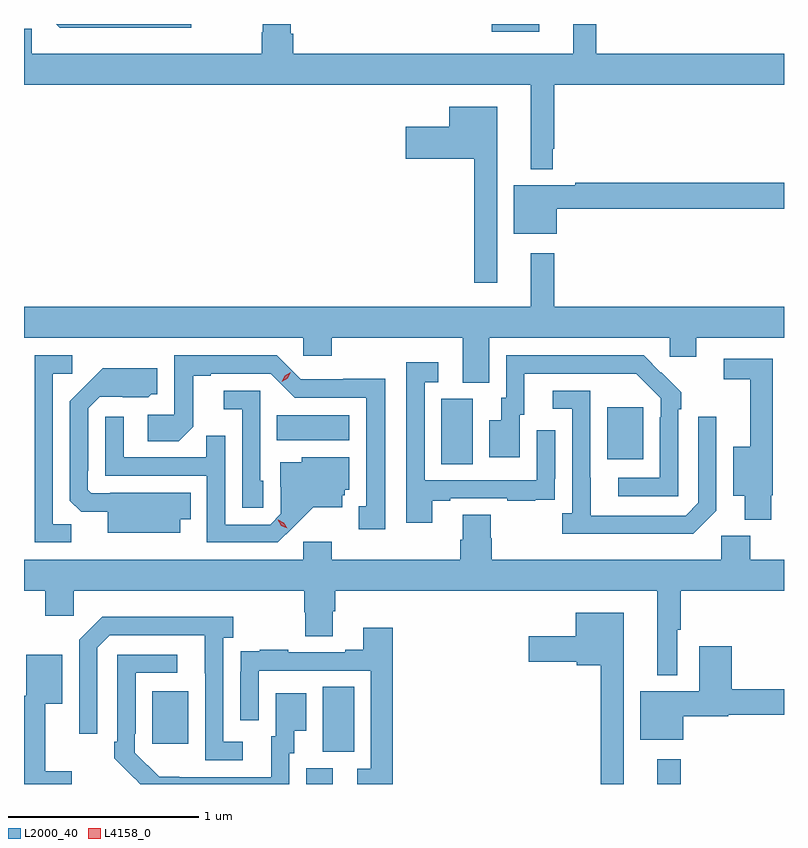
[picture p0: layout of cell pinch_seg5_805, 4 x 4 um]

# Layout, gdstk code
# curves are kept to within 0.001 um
import gdstk
lib = gdstk.Library(unit=1e-6, precision=1e-09)
def R(c, l, rs):  # rectangles x0, y0, x1, y1
    for r in rs: c.add(gdstk.rectangle(r[:2], r[2:], *l))
def P(c, l, *ps):  # polygons
    for p in ps: c.add(gdstk.Polygon(p, *l))
L2000_40 = (2000, 40)
L4158_0 = (4158, 0)

pinch_seg5_805 = lib.new_cell('pinch_seg5_805')
R(pinch_seg5_805, L2000_40, [(805.301,897.036,805.441,897.12), (807.149,897.036,807.271,897.166), (805.388,897.205,805.552,897.548), (804.491,897.249,804.679,897.523), (806.012,898.72,806.176,899.064), (806.885,898.745,807.073,899.02), (805.144,898.844,805.528,898.978), (806.276,900.995,806.527,901.036)])
P(pinch_seg5_805, L2000_40, [(806.598,900.379),(806.605,900.379),(806.605,900.716),(807.815,900.716),(807.815,900.88),(806.827,900.88),(806.827,901.036),(806.705,901.036),(806.705,900.88),(805.232,900.88),(805.232,900.986),(805.219,900.986),(805.219,901.036),(805.072,901.036),(805.072,900.993),(805.067,900.993),(805.067,900.88),(803.856,900.88),(803.856,901.012),(803.815,901.012),(803.815,900.716),(806.483,900.716),(806.483,900.272),(806.598,900.272)],
  [(804.694,901.036),(803.984,901.036),(804.004,901.016),(804.694,901.016)],
  [(806.305,900.601),(806.054,900.601),(806.054,900.496),(805.824,900.496),(805.824,900.326),(806.184,900.326),(806.184,899.673),(806.305,899.673)],
  [(806.62,900.064),(807.815,900.064),(807.815,900.2),(806.716,900.2),(806.716,900.187),(806.393,900.187),(806.393,899.933),(806.62,899.933)],
  [(806.263,899.384),(807.213,899.384),(807.213,899.286),(807.352,899.286),(807.352,899.384),(807.815,899.384),(807.815,899.548),(806.605,899.548),(806.605,899.83),(806.483,899.83),(806.483,899.548),(803.815,899.548),(803.815,899.384),(805.284,899.384),(805.284,899.291),(805.436,899.291),(805.436,899.384),(806.123,899.384),(806.123,899.149),(806.263,899.149)],
  [(807.258,899.009),(807.273,899.009),(807.273,899.097),(807.076,899.292),(806.352,899.292),(806.352,899.07),(806.327,899.07),(806.327,898.951),(806.264,898.951),(806.264,898.755),(806.425,898.755),(806.425,898.98),(806.449,898.98),(806.449,899.196),(807.037,899.196),(807.165,899.067),(807.165,898.967),(807.162,898.967),(807.162,898.647),(806.943,898.647),(806.943,898.551),(807.258,898.551)],
  [(805.717,899.168),(805.494,899.168),(805.494,899.166),(805.272,899.166),(805.146,899.292),(804.606,899.292),(804.606,898.98),(804.465,898.98),(804.465,898.84),(804.629,898.84),(804.705,898.916),(804.705,899.184),(804.799,899.184),(804.799,899.196),(805.113,899.196),(805.239,899.07),(805.616,899.07),(805.616,898.497),(805.577,898.497),(805.577,898.377),(805.717,898.377)],
  [(804.063,898.403),(803.967,898.403),(803.967,899.196),(804.07,899.196),(804.07,899.292),(803.871,899.292),(803.871,898.308),(804.063,898.308)],
  [(807.749,898.557),(807.755,898.557),(807.755,899.274),(807.498,899.274),(807.498,899.166),(807.638,899.166),(807.638,898.81),(807.548,898.81),(807.548,898.553),(807.608,898.553),(807.608,898.427),(807.749,898.427)],
  [(805.963,898.527),(806.059,898.527),(806.059,898.539),(806.359,898.539),(806.359,898.527),(806.507,898.527),(806.507,898.533),(806.609,898.533),(806.609,898.642),(806.61,898.642),(806.61,898.897),(806.514,898.897),(806.514,898.635),(805.923,898.635),(805.923,899.151),(805.996,899.151),(805.996,899.257),(805.827,899.257),(805.827,898.41),(805.963,898.41)],
  [(804.637,898.43),(804.692,898.43),(804.692,898.57),(804.268,898.57),(804.268,898.566),(804.168,898.566),(804.15,898.584),(804.15,898.684),(804.153,898.684),(804.153,899.013),(804.213,899.073),(804.47,899.072),(804.486,899.088),(804.517,899.088),(804.517,899.224),(804.229,899.224),(804.057,899.05),(804.057,898.528),(804.116,898.469),(804.257,898.469),(804.257,898.358),(804.637,898.358)],
  [(807.459,898.473),(807.459,898.969),(807.363,898.969),(807.363,898.515),(807.297,898.449),(806.797,898.449),(806.796,899.106),(806.598,899.106),(806.598,899.01),(806.7,899.01),(806.7,898.462),(806.649,898.462),(806.649,898.352),(807.338,898.352)],
  [(805.074,898.632),(805.059,898.632),(805.059,899.106),(804.867,899.106),(804.867,899.009),(804.963,899.009),(804.963,898.489),(805.074,898.489)],
  [(805.234,898.391),(805.337,898.493),(805.489,898.493),(805.489,898.557),(805.503,898.557),(805.503,898.584),(805.528,898.584),(805.528,898.756),(805.278,898.756),(805.278,898.729),(805.163,898.729),(805.163,898.6),(805.167,898.6),(805.167,898.458),(805.11,898.401),(804.873,898.401),(804.873,898.868),(804.775,898.868),(804.775,898.755),(804.339,898.755),(804.339,898.969),(804.243,898.969),(804.243,898.659),(804.777,898.659),(804.777,898.308),(805.15,898.308)],
  [(806.276,898.329),(806.271,898.329),(806.271,898.454),(806.123,898.454),(806.123,898.322),(806.111,898.322),(806.111,898.216),(805.436,898.216),(805.436,898.312),(805.284,898.312),(805.284,898.216),(803.815,898.216),(803.815,898.052),(803.927,898.052),(803.927,897.921),(804.078,897.921),(804.078,898.052),(805.289,898.052),(805.289,897.939),(805.294,897.939),(805.294,897.814),(805.441,897.814),(805.441,897.946),(805.454,897.946),(805.454,898.052),(807.149,898.052),(807.149,897.608),(807.253,897.608),(807.253,897.847),(807.271,897.847),(807.271,898.052),(807.815,898.052),(807.815,898.216),(807.638,898.216),(807.638,898.342),(807.486,898.342),(807.486,898.216),(806.276,898.216)],
  [(806.971,897.937),(806.72,897.937),(806.72,897.814),(806.472,897.814),(806.472,897.68),(806.724,897.68),(806.724,897.662),(806.85,897.662),(806.85,897.036),(806.971,897.036)],
  [(804.967,897.258),(804.864,897.258),(804.864,897.806),(804.916,897.806),(804.916,897.916),(804.226,897.916),(804.105,897.795),(804.105,897.3),(804.201,897.3),(804.201,897.753),(804.267,897.819),(804.767,897.819),(804.768,897.162),(804.967,897.162)],
  [(805.757,897.859),(805.601,897.859),(805.601,897.742),(805.505,897.742),(805.505,897.729),(805.205,897.729),(805.205,897.742),(805.057,897.742),(805.057,897.735),(804.955,897.735),(804.955,897.626),(804.954,897.626),(804.954,897.372),(805.05,897.372),(805.05,897.633),(805.641,897.633),(805.641,897.117),(805.569,897.117),(805.569,897.036),(805.757,897.036)],
  [(807.286,897.392),(807.522,897.392),(807.522,897.4),(807.815,897.4),(807.815,897.536),(807.539,897.536),(807.539,897.76),(807.368,897.76),(807.368,897.523),(807.059,897.523),(807.059,897.269),(807.286,897.269)],
  [(805.212,897.198),(805.237,897.198),(805.237,897.317),(805.3,897.317),(805.3,897.514),(805.139,897.514),(805.139,897.288),(805.115,897.288),(805.115,897.072),(804.528,897.073),(804.399,897.201),(804.399,897.301),(804.402,897.301),(804.402,897.621),(804.622,897.621),(804.622,897.717),(804.306,897.717),(804.306,897.259),(804.291,897.259),(804.291,897.171),(804.396,897.066),(804.397,897.067),(804.428,897.036),(805.212,897.036)],
  [(804.067,897.103),(803.927,897.103),(803.927,897.458),(804.016,897.458),(804.016,897.715),(803.828,897.715),(803.828,897.501),(803.815,897.501),(803.815,897.036),(804.067,897.036)])
P(pinch_seg5_805, L4158_0, [(805.171,899.152),(805.171,899.152),(805.188,899.184),(805.22,899.203),(805.22,899.203),(805.22,899.203),(805.203,899.171),(805.171,899.152)],
  [(805.2,898.381),(805.169,898.396),(805.151,898.426),(805.151,898.426),(805.152,898.426),(805.182,898.411),(805.2,898.381),(805.2,898.381)])

lib.write_gds('pinch_seg5_805.gds')
